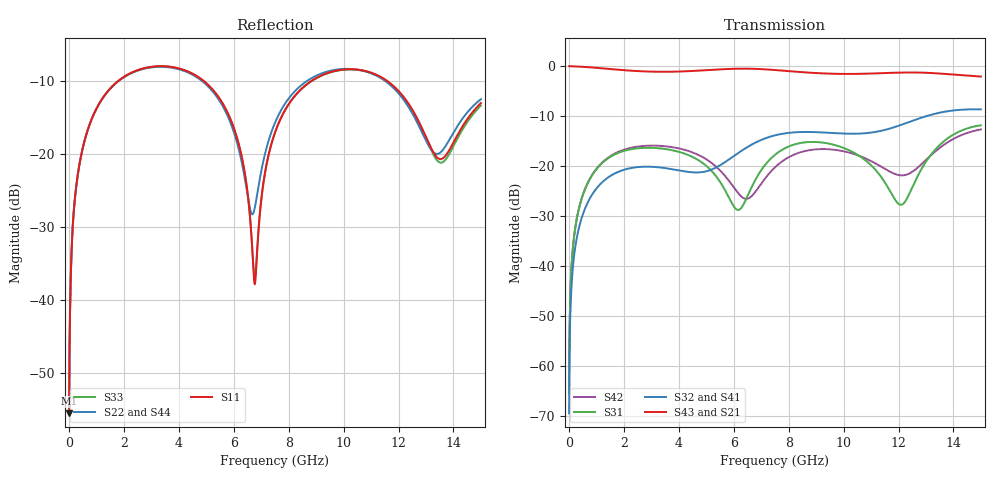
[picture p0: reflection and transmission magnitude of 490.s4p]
! Created with skrf 1.8.0 (http://scikit-rf.org).
# GHz S RI R 50.0
!freq ReS11 ImS11 ReS12 ImS12 ReS13 ImS13
! ReS14 ImS14
! ReS21 ImS21 ReS22 ImS22 ReS23 ImS23
! ReS24 ImS24
! ReS31 ImS31 ReS32 ImS32 ReS33 ImS33
! ReS34 ImS34
! ReS41 ImS41 ReS42 ImS42 ReS43 ImS43
! ReS44 ImS44
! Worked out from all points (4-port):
!   2499 points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, 5 MHz to 15 GHz, reference 50 ohm
!   strongest paths, dB at 5 MHz, 3.476 GHz, 7.19 GHz, 11.1 GHz, 15 GHz:
!     S43: 0.0, -1.1, -0.7, -1.5, -2.1
!     S21: 0.0, -1.1, -0.7, -1.5, -2.1
!     S32: -69.5, -20.4, -14.4, -13.2, -8.7
!     S41: -69.5, -20.4, -14.4, -13.3, -8.8
!     S31: -65.5, -16.6, -19.5, -20.4, -11.9
!     S42: -65.5, -16.0, -22.1, -19.3, -12.7
!   lowest |S11| = -55.5 dB at 5 MHz (marker M1), VSWR 1.00, Z = 50.1 + j0.102 ohm
!   |S11| at or under -10 dB: start of sweep to 1.813 GHz; 4.887 GHz to 8.852 GHz (3.965 GHz wide, 57.7 % of centre); 11.57 GHz to end of sweep
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0.005  0.00134 0.00102  0.9986 -0.00261  6.61e-05 0.000525  -6.44e-05 -0.000329
       0.9986 -0.00261  0.00134 0.00102  -6.44e-05 -0.000329  6.63e-05 0.000525
       6.61e-05 0.000525  -6.44e-05 -0.000329  0.00134 0.00102  0.9986 -0.00261
       -6.44e-05 -0.000329  6.63e-05 0.000525  0.9986 -0.00261  0.00134 0.00102
0.4126719  0.0261 0.0873  0.964 -0.2127  0.0118 0.0409  -0.0102 -0.0252
           0.964 -0.2127  0.026 0.0873  -0.0102 -0.0252  0.0128 0.0406
           0.0118 0.0409  -0.0102 -0.0252  0.0261 0.0873  0.964 -0.2127
           -0.0102 -0.0252  0.0128 0.0406  0.964 -0.2127  0.026 0.0873
2.025844  0.2914 0.1699  0.5064 -0.755  0.1276 0.0632  -0.092 0.000896
          0.5064 -0.755  0.2872 0.1731  -0.0921 0.00111  0.139 0.046
          0.1276 0.0632  -0.0921 0.00111  0.2912 0.17  0.5064 -0.755
          -0.092 0.000896  0.139 0.046  0.5064 -0.755  0.2873 0.1729
5.421009  0.1554 -0.1928  -0.7047 -0.599  0.0637 -0.0394  -0.047 0.0863
          -0.7047 -0.599  0.1673 -0.1711  -0.0454 0.0878  0.00152 -0.095
          0.0637 -0.0394  -0.0454 0.0878  0.1557 -0.1918  -0.7048 -0.5992
          -0.047 0.0863  0.00152 -0.095  -0.7048 -0.5992  0.1664 -0.1715
6.684035  0.0126 -0.0165  -0.9372 -0.0754  0.0455 0.0451  -0.0112 0.1653
          -0.9372 -0.0754  0.0385 0.000747  -0.00785 0.1655  -0.0393 0.0325
          0.0455 0.0451  -0.00785 0.1655  0.0136 -0.0162  -0.9372 -0.0755
          -0.0112 0.1653  -0.0393 0.0325  -0.9372 -0.0755  0.0372 0.00115
10.71071  0.3651 -0.0638  0.1196 0.8293  0.0784 -0.0895  0.2001 -0.0674
          0.1196 0.8293  0.3613 -0.0747  0.1988 -0.0742  0.0707 -0.0996
          0.0784 -0.0895  0.1988 -0.0742  0.3629 -0.0646  0.1191 0.8299
          0.2001 -0.0674  0.0707 -0.0996  0.1191 0.8299  0.361 -0.073
15  0.2021 0.0913  0.6692 -0.4119  0.2132 0.1409  -0.2405 -0.2745
    0.6692 -0.4119  0.2194 0.0864  -0.2528 -0.2687  0.1872 0.138
    0.2132 0.1409  -0.2528 -0.2687  0.1923 0.0924  0.6703 -0.4104
    -0.2405 -0.2745  0.1872 0.138  0.6703 -0.4104  0.2269 0.085
